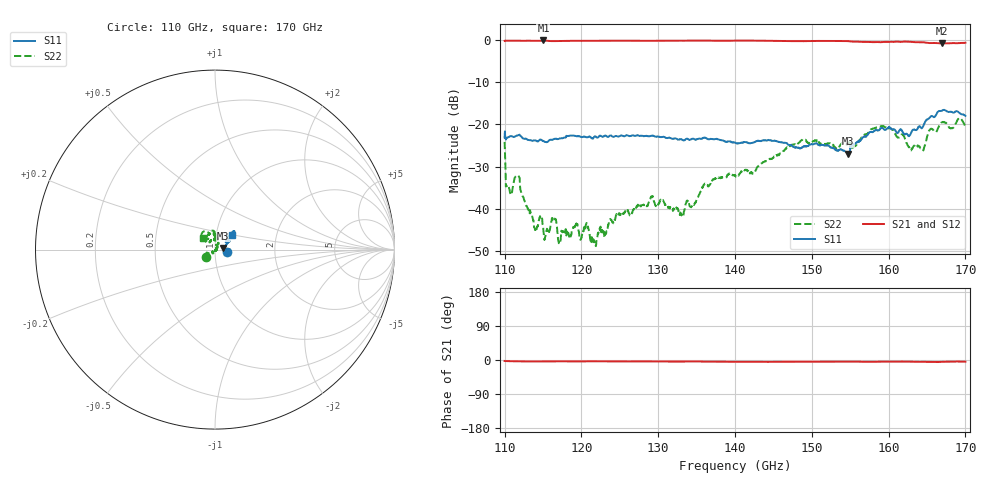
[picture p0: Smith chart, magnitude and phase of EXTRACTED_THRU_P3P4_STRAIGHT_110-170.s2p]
! Generated by Phase I extraction
# Hz S RI R 50
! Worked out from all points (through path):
!   1471 points, 110 GHz to 170 GHz, reference 50 ohm
!   highest |S21| = -0.05 dB at 115.1 GHz (marker M1); lowest = -0.8 dB at 166.9 GHz (marker M2)
!   lowest |S11| = -26.9 dB at 154.7 GHz (marker M3), VSWR 1.09, Z = 54.6 + j0.987 ohm
!   |S11| at or under -10 dB: start of sweep to end of sweep
!   |S22| runs from -48.9 to -18.4 dB; largest |S21 - S12| = 0.044
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1.1e11  0.0694 -0.0109  0.982 -0.0431  0.9843 -0.0583  -0.0475 -0.04
1.10449e11  0.0704 0.000296  0.9871 -0.0528  0.9877 -0.0677  -0.0131 -0.0139
1.116735e11  0.0737 -0.00732  0.9858 -0.0601  0.9853 -0.0809  -0.0126 -0.0214
1.139184e11  0.0648 -0.00428  0.9837 -0.0701  0.9785 -0.0861  0.00219 -0.00553
1.150612e11  0.0637 -0.00408  0.9918 -0.0632  0.9971 -0.0801  0.00238 -0.00477
1.164082e11  0.0668 -0.00465  0.9744 -0.0586  0.9732 -0.0786  0.00752 -0.00212
1.171429e11  0.0679 -0.00462  0.9777 -0.0614  0.9764 -0.0826  0.00386 0.000767
1.192245e11  0.0724 -0.0118  0.9807 -0.0657  0.9793 -0.0881  0.002 -0.00609
1.2e11  0.07 -0.0116  0.9811 -0.0632  0.9808 -0.0862  -0.000831 -0.00448
1.206531e11  0.0695 -0.0114  0.9823 -0.0606  0.9803 -0.0802  0.00105 -0.00668
1.217551e11  0.0715 -0.0121  0.9827 -0.0593  0.9793 -0.0763  0.00181 -0.00342
1.247347e11  0.0707 -0.0148  0.9851 -0.0641  0.9831 -0.0853  0.00838 -0.00241
1.3e11  0.0689 -0.0209  0.9846 -0.0701  0.9821 -0.0907  0.00983 0.00538
1.330612e11  0.0641 -0.018  0.9865 -0.0702  0.9828 -0.0916  0.00561 0.00609
1.359592e11  0.0674 -0.0173  0.9875 -0.0708  0.9848 -0.1004  0.014 0.0133
1.4e11  0.0594 -0.0143  0.9846 -0.0822  0.9828 -0.1034  0.00969 0.0233
1.5e11  0.0588 0.000253  0.9768 -0.0784  0.9743 -0.0862  0.0068 0.0613
1.547347e11  0.0443 0.00901  0.9729 -0.0724  0.97 -0.0804  0.00747 0.06
1.6e11  0.0783 0.0498  0.9512 -0.0664  0.9504 -0.0754  -0.0311 0.0846
1.643673e11  0.0673 0.0611  0.9432 -0.077  0.9455 -0.0658  -0.0157 0.0482
1.66898e11  0.1062 0.0992  0.9126 -0.0798  0.9175 -0.0422  -0.00883 0.105
1.7e11  0.0961 0.0824  0.9292 -0.0725  0.9271 -0.0848  -0.0689 0.0649
